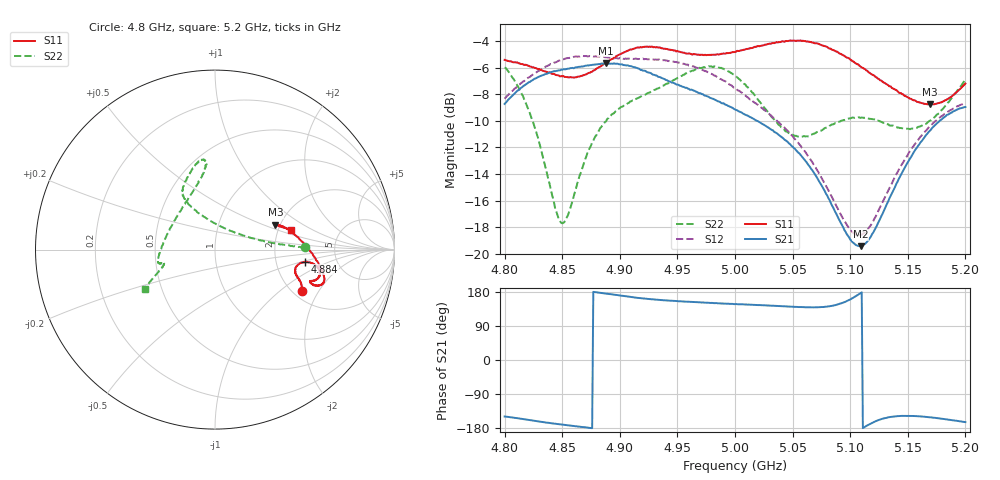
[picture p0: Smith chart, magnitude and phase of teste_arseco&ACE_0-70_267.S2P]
! Network Analyzer HP8722D
! Hewlett-Packard
! Data name: Linha & Wilkinson
! Saver's name: Rodrigo Anjos
! Comments: Teste da utilização de aquisição
! continua pelo VNA HP8722D
! Time and date: 8/5/2025 14:59
!  Frequency  S11  S21  S12  S22
# HZ  S  MA R 50
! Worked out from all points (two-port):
!   401 points, 4.8 GHz to 5.2 GHz, reference 50 ohm
!   highest |S21| = -5.66 dB at 4.888 GHz (marker M1); lowest = -19.4 dB at 5.109 GHz (marker M2)
!   |S21| within 3 dB of the highest: 4.801 GHz to 4.988 GHz (187.3 MHz wide, 3.83 % of centre)
!   lowest |S11| = -8.8 dB at 5.169 GHz (marker M3), VSWR 2.15, Z = 94.5 + j30.3 ohm
!   |S11| at or under -10 dB: nowhere
!   |S22| runs from -17.7 to -5.9 dB; largest |S21 - S12| = 1.1
!   S11 on the Smith chart (normalised r, x): 4.8 GHz: 2.24, -1.43; 4.884 GHz: 2.96, -0.54; 5.2 GHz: 2.33, +0.64
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4.8e9  0.5353 -25.2  0.3659 -149.1  0.3829 10.2  0.5014 1.3
4.812e9  0.5204 -22.2  0.4124 -154.0  0.43 8.5  0.4226 2.6
4.823e9  0.5049 -20.2  0.4464 -159.0  0.4665 7.0  0.3268 6.4
4.848e9  0.4641 -16.3  0.4888 -169.9  0.5329 3.0  0.133 55.5
4.854e9  0.4615 -14.4  0.4949 -172.3  0.5435 2.2  0.1372 81.1
4.867e9  0.4663 -11.0  0.506 -176.7  0.5523 0.0  0.207 112.1
4.884e9  0.5085 -7.6  0.519 177.0  0.5477 -1.2  0.3001 120.1
4.888e9  0.5208 -7.8  0.5211 175.2  0.548 -1.3  0.3145 120.8
4.913e9  0.5912 -11.1  0.5027 164.9  0.5408 -0.7  0.38 118.4
4.934e9  0.5964 -15.7  0.4618 158.4  0.5378 -1.6  0.4194 112.3
4.975e9  0.5578 -18.7  0.3917 151.3  0.4857 -5.3  0.5042 99.0
5e9  0.5737 -19.4  0.3488 147.4  0.4208 -5.3  0.4687 96.6
5.015e9  0.5937 -19.7  0.3234 145.7  0.3751 -3.2  0.4036 101.3
5.044e9  0.6299 -17.5  0.2668 141.4  0.2945 2.8  0.2883 131.2
5.067e9  0.6222 -13.5  0.2064 138.9  0.2215 9.4  0.2811 164.5
5.098e9  0.5453 -2.7  0.1169 156.9  0.1267 37.7  0.3219 -170.8
5.109e9  0.5054 2.3  0.1068 176.3  0.1175 59.4  0.3243 -167.5
5.118e9  0.4743 6.9  0.1161 -167.5  0.1283 77.0  0.3213 -166.3
5.134e9  0.426 14.7  0.1615 -150.8  0.1763 94.8  0.3037 -165.9
5.153e9  0.3822 21.0  0.2317 -147.5  0.2468 101.3  0.2953 -164.2
5.169e9  0.3646 22.4  0.2898 -151.1  0.3015 102.3  0.3158 -160.8
5.2e9  0.4362 14.8  0.3561 -163.9  0.3691 102.6  0.4504 -150.7
